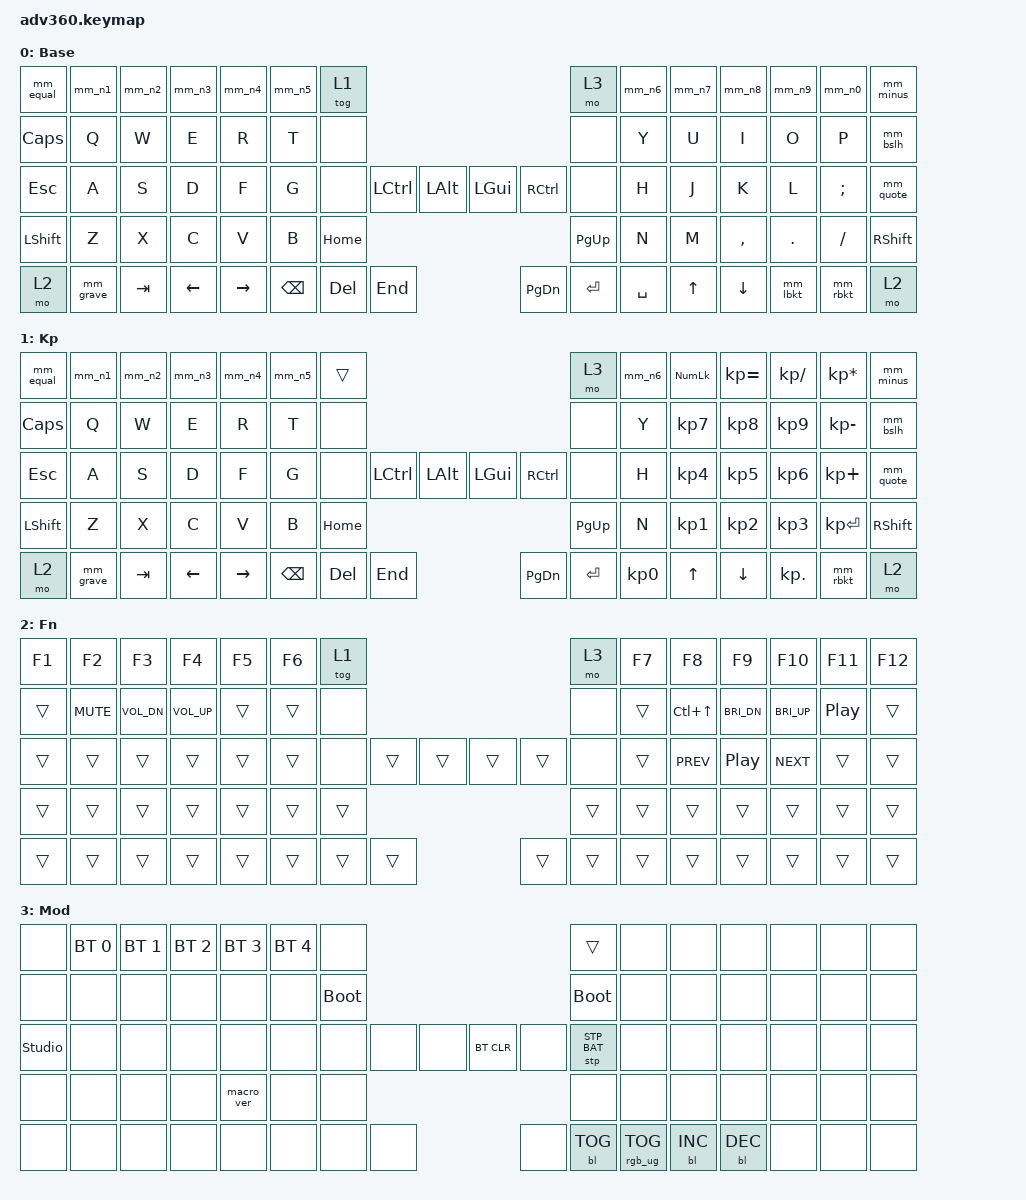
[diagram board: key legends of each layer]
#include <dt-bindings/zmk/stp.h>
#include <behaviors.dtsi>
#include <dt-bindings/zmk/backlight.h>
#include <dt-bindings/zmk/bt.h>
#include <dt-bindings/zmk/keys.h>
#include <dt-bindings/zmk/rgb.h>

/ {
    behaviors {
        #include "macros.dtsi"
      #include "version.dtsi"

        hm: homerow_mods {
            compatible = "zmk,behavior-hold-tap";
            label = "HOMEROW_MODS";
            #binding-cells = <2>;
            tapping-term-ms = <200>;
            quick_tap_ms = <175>;
            flavor = "tap-preferred";
            bindings = <&kp>, <&kp>;
        };

        // Mod-morph behaviors for number row: symbol normally, number when any modifier held
        // Includes Shift, Cmd, Ctrl, Alt to preserve macOS hotkeys
        mm_n1: mod_morph_1 {
            compatible = "zmk,behavior-mod-morph";
            #binding-cells = <0>;
            bindings = <&kp PLUS>, <&kp N1>;
            mods = <(MOD_LSFT|MOD_RSFT|MOD_LGUI|MOD_RGUI|MOD_LCTL|MOD_RCTL|MOD_LALT|MOD_RALT)>;
            keep-mods = <(MOD_LGUI|MOD_RGUI|MOD_LCTL|MOD_RCTL|MOD_LALT|MOD_RALT)>;
        };

        mm_n2: mod_morph_2 {
            compatible = "zmk,behavior-mod-morph";
            #binding-cells = <0>;
            bindings = <&kp LBKT>, <&kp N2>;
            mods = <(MOD_LSFT|MOD_RSFT|MOD_LGUI|MOD_RGUI|MOD_LCTL|MOD_RCTL|MOD_LALT|MOD_RALT)>;
            keep-mods = <(MOD_LGUI|MOD_RGUI|MOD_LCTL|MOD_RCTL|MOD_LALT|MOD_RALT)>;
        };

        mm_n3: mod_morph_3 {
            compatible = "zmk,behavior-mod-morph";
            #binding-cells = <0>;
            bindings = <&kp LBRC>, <&kp N3>;
            mods = <(MOD_LSFT|MOD_RSFT|MOD_LGUI|MOD_RGUI|MOD_LCTL|MOD_RCTL|MOD_LALT|MOD_RALT)>;
            keep-mods = <(MOD_LGUI|MOD_RGUI|MOD_LCTL|MOD_RCTL|MOD_LALT|MOD_RALT)>;
        };

        mm_n4: mod_morph_4 {
            compatible = "zmk,behavior-mod-morph";
            #binding-cells = <0>;
            bindings = <&kp LPAR>, <&kp N4>;
            mods = <(MOD_LSFT|MOD_RSFT|MOD_LGUI|MOD_RGUI|MOD_LCTL|MOD_RCTL|MOD_LALT|MOD_RALT)>;
            keep-mods = <(MOD_LGUI|MOD_RGUI|MOD_LCTL|MOD_RCTL|MOD_LALT|MOD_RALT)>;
        };

        mm_n5: mod_morph_5 {
            compatible = "zmk,behavior-mod-morph";
            #binding-cells = <0>;
            bindings = <&kp AMPS>, <&kp N5>;
            mods = <(MOD_LSFT|MOD_RSFT|MOD_LGUI|MOD_RGUI|MOD_LCTL|MOD_RCTL|MOD_LALT|MOD_RALT)>;
            keep-mods = <(MOD_LGUI|MOD_RGUI|MOD_LCTL|MOD_RCTL|MOD_LALT|MOD_RALT)>;
        };

        mm_n6: mod_morph_6 {
            compatible = "zmk,behavior-mod-morph";
            #binding-cells = <0>;
            bindings = <&kp EQUAL>, <&kp N6>;
            mods = <(MOD_LSFT|MOD_RSFT|MOD_LGUI|MOD_RGUI|MOD_LCTL|MOD_RCTL|MOD_LALT|MOD_RALT)>;
            keep-mods = <(MOD_LGUI|MOD_RGUI|MOD_LCTL|MOD_RCTL|MOD_LALT|MOD_RALT)>;
        };

        mm_n7: mod_morph_7 {
            compatible = "zmk,behavior-mod-morph";
            #binding-cells = <0>;
            bindings = <&kp RPAR>, <&kp N7>;
            mods = <(MOD_LSFT|MOD_RSFT|MOD_LGUI|MOD_RGUI|MOD_LCTL|MOD_RCTL|MOD_LALT|MOD_RALT)>;
            keep-mods = <(MOD_LGUI|MOD_RGUI|MOD_LCTL|MOD_RCTL|MOD_LALT|MOD_RALT)>;
        };

        mm_n8: mod_morph_8 {
            compatible = "zmk,behavior-mod-morph";
            #binding-cells = <0>;
            bindings = <&kp RBRC>, <&kp N8>;
            mods = <(MOD_LSFT|MOD_RSFT|MOD_LGUI|MOD_RGUI|MOD_LCTL|MOD_RCTL|MOD_LALT|MOD_RALT)>;
            keep-mods = <(MOD_LGUI|MOD_RGUI|MOD_LCTL|MOD_RCTL|MOD_LALT|MOD_RALT)>;
        };

        mm_n9: mod_morph_9 {
            compatible = "zmk,behavior-mod-morph";
            #binding-cells = <0>;
            bindings = <&kp RBKT>, <&kp N9>;
            mods = <(MOD_LSFT|MOD_RSFT|MOD_LGUI|MOD_RGUI|MOD_LCTL|MOD_RCTL|MOD_LALT|MOD_RALT)>;
            keep-mods = <(MOD_LGUI|MOD_RGUI|MOD_LCTL|MOD_RCTL|MOD_LALT|MOD_RALT)>;
        };

        mm_n0: mod_morph_0 {
            compatible = "zmk,behavior-mod-morph";
            #binding-cells = <0>;
            bindings = <&kp ASTRK>, <&kp N0>;
            mods = <(MOD_LSFT|MOD_RSFT|MOD_LGUI|MOD_RGUI|MOD_LCTL|MOD_RCTL|MOD_LALT|MOD_RALT)>;
            keep-mods = <(MOD_LGUI|MOD_RGUI|MOD_LCTL|MOD_RCTL|MOD_LALT|MOD_RALT)>;
        };

        // Mod-morph behaviors for symbol keys
        // Note: Symbol keys only use Shift for morphing since Cmd+symbol shortcuts
        // typically expect the symbol itself (e.g., Cmd+- for zoom out)
        mm_quote: mod_morph_quote {
            compatible = "zmk,behavior-mod-morph";
            #binding-cells = <0>;
            bindings = <&kp MINUS>, <&kp UNDER>;
            mods = <(MOD_LSFT|MOD_RSFT)>;
        };

        mm_minus: mod_morph_minus {
            compatible = "zmk,behavior-mod-morph";
            #binding-cells = <0>;
            bindings = <&kp EXCL>, <&kp PRCNT>;
            mods = <(MOD_LSFT|MOD_RSFT)>;
        };

        mm_equal: mod_morph_equal {
            compatible = "zmk,behavior-mod-morph";
            #binding-cells = <0>;
            bindings = <&kp PIPE>, <&kp GRAVE>;
            mods = <(MOD_LSFT|MOD_RSFT)>;
        };

        mm_grave: mod_morph_grave {
            compatible = "zmk,behavior-mod-morph";
            #binding-cells = <0>;
            bindings = <&kp DLLR>, <&kp TILDE>;
            mods = <(MOD_LSFT|MOD_RSFT)>;
        };

        mm_lbkt: mod_morph_lbkt {
            compatible = "zmk,behavior-mod-morph";
            #binding-cells = <0>;
            bindings = <&kp SQT>, <&kp DQT>;
            mods = <(MOD_LSFT|MOD_RSFT)>;
        };

        mm_rbkt: mod_morph_rbkt {
            compatible = "zmk,behavior-mod-morph";
            #binding-cells = <0>;
            bindings = <&kp AT>, <&kp CARET>;
            mods = <(MOD_LSFT|MOD_RSFT)>;
        };

        mm_bslh: mod_morph_bslh {
            compatible = "zmk,behavior-mod-morph";
            #binding-cells = <0>;
            bindings = <&kp BSLH>, <&kp HASH>;
            mods = <(MOD_LSFT|MOD_RSFT)>;
        };
    };

    keymap {
        compatible = "zmk,keymap";

        default_layer {
            display-name = "Base";
            bindings = <
&mm_equal   &mm_n1     &mm_n2    &mm_n3    &mm_n4     &mm_n5  &tog 1                                                        &mo 3      &mm_n6  &mm_n7  &mm_n8     &mm_n9    &mm_n0    &mm_minus
&kp CAPS    &kp Q      &kp W     &kp E     &kp R      &kp T   &none                                                         &none      &kp Y   &kp U   &kp I      &kp O     &kp P     &mm_bslh
&kp ESC     &kp A      &kp S     &kp D     &kp F      &kp G   &none     &kp LCTRL       &kp LALT      &kp LGUI   &kp RCTRL  &none      &kp H   &kp J   &kp K      &kp L     &kp SEMI  &mm_quote
&kp LEFT_SHIFT  &kp Z      &kp X     &kp C     &kp V      &kp B                             &kp HOME      &kp PG_UP                        &kp N   &kp M   &kp COMMA  &kp DOT   &kp FSLH  &kp RSHFT
&mo 2       &mm_grave  &kp TAB   &kp LEFT  &kp RIGHT          &kp BSPC  &kp DELETE  &kp END       &kp PG_DN  &kp ENTER  &kp SPACE          &kp UP  &kp DOWN   &mm_lbkt  &mm_rbkt  &mo 2
            >;
        };

        keypad {
            display-name = "Kp";
            bindings = <
&mm_equal  &mm_n1     &mm_n2    &mm_n3    &mm_n4     &mm_n5  &trans                                                   &mo 3      &mm_n6  &kp KP_NUM  &kp KP_EQUAL  &kp KP_DIVIDE  &kp KP_MULTIPLY  &mm_minus
&kp CAPS   &kp Q      &kp W     &kp E     &kp R      &kp T   &none                                                    &none      &kp Y   &kp KP_N7   &kp KP_N8     &kp KP_N9      &kp KP_MINUS     &mm_bslh
&kp ESC    &kp A      &kp S     &kp D     &kp F      &kp G   &none     &kp LCTRL  &kp LALT      &kp LGUI   &kp RCTRL  &none      &kp H   &kp KP_N4   &kp KP_N5     &kp KP_N6      &kp KP_PLUS      &mm_quote
&kp LSHFT  &kp Z      &kp X     &kp C     &kp V      &kp B                        &kp HOME      &kp PG_UP                        &kp N   &kp KP_N1   &kp KP_N2     &kp KP_N3      &kp KP_ENTER     &kp RSHFT
&mo 2      &mm_grave  &kp TAB   &kp LEFT  &kp RIGHT          &kp BSPC  &kp DEL    &kp END       &kp PG_DN  &kp ENTER  &kp KP_N0          &kp UP      &kp DOWN      &kp KP_DOT     &mm_rbkt         &mo 2
            >;
        };

        fn {
            display-name = "Fn";
            bindings = <
&kp F1  &kp F2      &kp F3        &kp F4        &kp F5  &kp F6  &tog 1                                      &mo 3   &kp F7  &kp F8      &kp F9        &kp F10       &kp F11   &kp F12
&trans  &kp C_MUTE  &kp C_VOL_DN  &kp C_VOL_UP  &trans  &trans  &none                                       &none   &trans  &kp LC(UP)  &kp C_BRI_DN  &kp C_BRI_UP  &kp C_PP  &trans
&trans  &trans      &trans        &trans        &trans  &trans  &none   &trans  &trans      &trans  &trans  &none   &trans  &kp C_PREV  &kp C_PP      &kp C_NEXT    &trans    &trans
&trans  &trans      &trans        &trans        &trans  &trans                  &trans      &trans                  &trans  &trans      &trans        &trans        &trans    &trans
&trans  &trans      &trans        &trans        &trans          &trans  &trans  &trans      &trans  &trans  &trans          &trans      &trans        &trans        &trans    &trans
            >;
        };

        mod {
            display-name = "Mod";
            bindings = <
&none           &bt BT_SEL 0  &bt BT_SEL 1  &bt BT_SEL 2  &bt BT_SEL 3  &bt BT_SEL 4  &none                                                  &trans           &none  &none       &none       &none  &none  &none
&none           &none         &none         &none         &none         &none         &bootloader                                            &bootloader      &none  &none       &none       &none  &none  &none
&studio_unlock  &none         &none         &none         &none         &none         &none        &none  &none      &bt BT_CLR  &none       &stp STP_BAT     &none  &none       &none       &none  &none  &none
&none           &none         &none         &none         &macro_ver    &none                             &none      &none                                    &none  &none       &none       &none  &none  &none
&none           &none         &none         &none         &none                       &none        &none  &none      &none       &bl BL_TOG  &rgb_ug RGB_TOG         &bl BL_INC  &bl BL_DEC  &none  &none  &none
            >;
        };

        extra1 {
            display-name = "Red";
            status = "reserved";
        };

        extra2 {
            display-name = "Purple";
            status = "reserved";
        };

        extra3 {
            display-name = "Cyan";
            status = "reserved";
        };

        extra4 {
            display-name = "Yellow";
            status = "reserved";
        };
    };
};
